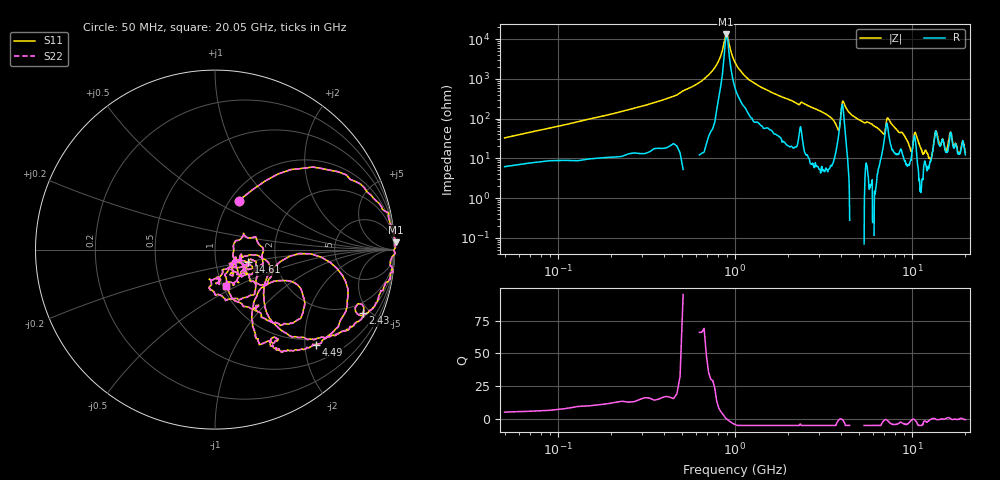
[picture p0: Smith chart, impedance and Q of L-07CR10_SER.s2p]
! P/N: L-07CR10JV4
! Measured by Marlon
! Oct. 13, 2003
! Measure with Series-through-Fixture
#	mhz	s	ma	r	50
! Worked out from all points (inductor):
!   1001 points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, 50 MHz to 20.05 GHz, reference 50 ohm
!   read as one part in series: L = 98 nH near 150 MHz
!   highest |Z| = 13.1 kohm at 890 MHz (marker M1)
!   self-resonance near 890 MHz
!   S11 on the Smith chart (normalised r, x): 50 MHz: 1.10, +0.66; 2.43 GHz: 1.25, -4.52; 4.49 GHz: 0.86, -2.25; 14.61 GHz: 1.44, -0.21; 20.05 GHz: 1.04, -0.44
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50  0.3037 64.1  0.8933 -16.2  0.8933 -16.2  0.3037 64.1
350  0.9054 20.9  0.3588 -65.2  0.3588 -65.2  0.9054 20.9
890  1.008 2.3  0.00772 -15.1  0.00772 -15.1  1.008 2.3
1370  0.9885 -7.5  0.1497 75.8  0.1497 75.8  0.9885 -7.5
2430  0.8966 -23.3  0.3646 61.5  0.3646 61.5  0.8966 -23.3
3390  0.7375 -42.7  0.6113 45.5  0.6113 45.5  0.7375 -42.7
3790  0.4287 -49.3  0.7092 22.0  0.7092 22.0  0.4287 -49.3
3970  0.5321 -2.5  0.4213 -1.2  0.4213 -1.2  0.5321 -2.5
4490  0.7725 -43.2  0.5513 48.6  0.5513 48.6  0.7725 -43.2
6730  0.422 -60.8  0.7982 17.9  0.7982 17.9  0.422 -60.8
7310  0.5908 -32.6  0.5476 24.1  0.5476 24.1  0.5908 -32.6
9010  0.3619 -61.5  0.8475 15.8  0.8475 15.8  0.3619 -61.5
10050  0.1213 -41.3  0.8241 0.5  0.8241 0.5  0.1213 -41.3
10510  0.3253 -51.2  0.7262 13.2  0.7262 13.2  0.3253 -51.2
12830  0.121 -68.6  0.8813 -4.5  0.8813 -4.5  0.121 -68.6
13390  0.2225 -7.7  0.7564 -11.1  0.7564 -11.1  0.2225 -7.7
13770  0.344 -30.5  0.6869 0.6  0.6869 0.6  0.344 -30.5
14610  0.1976 -20.6  0.8125 -5.2  0.8125 -5.2  0.1976 -20.6
15770  0.104 0.1  0.8494 -8.6  0.8494 -8.6  0.104 0.1
16730  0.2509 -23.9  0.6825 -1.1  0.6825 -1.1  0.2509 -23.9
18810  0.1314 -39.7  0.8594 -10.3  0.8594 -10.3  0.1314 -39.7
20050  0.214 -73.1  0.846 -6.5  0.846 -6.5  0.214 -73.1
